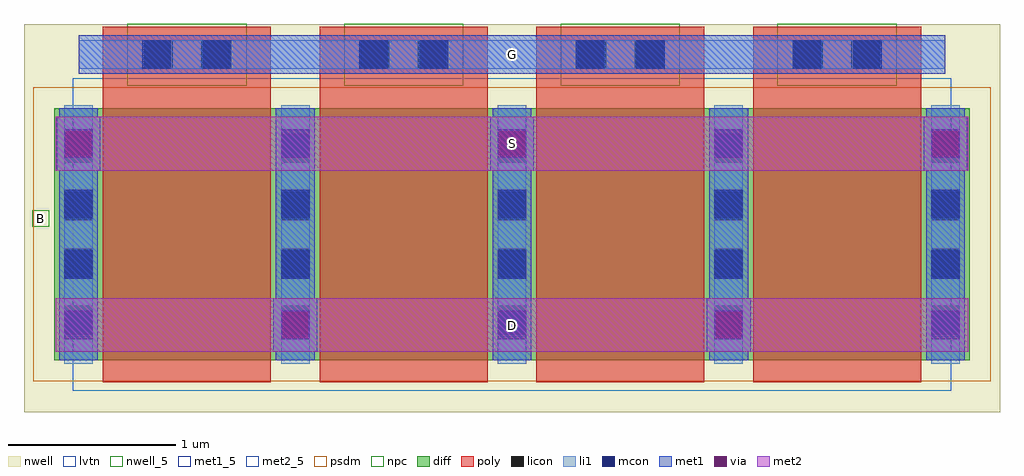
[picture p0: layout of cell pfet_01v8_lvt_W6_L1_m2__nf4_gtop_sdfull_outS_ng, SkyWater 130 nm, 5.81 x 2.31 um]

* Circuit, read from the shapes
.subckt pfet_01v8_lvt_W6_L1_m2__nf4_gtop_sdfull_outS_ng B D G S
XM1 D G S B sky130_fd_pr__pfet_01v8_lvt w=1.5 l=1 m=4
.ends

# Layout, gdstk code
import gdstk
lib = gdstk.Library(unit=1e-6, precision=1e-09)
def R(c, l, rs):  # rectangles x0, y0, x1, y1
    for r in rs: c.add(gdstk.rectangle(r[:2], r[2:], *l))
def A(c, l, x, y, w, h, nx, ny, dx, dy):  # array of equal rectangles
    R(c, l, [(x+i*dx, y+j*dy, x+i*dx+w, y+j*dy+h) for i in range(nx) for j in range(ny)])
nwell_5 = (64, 5)
nwell = (64, 20)
diff = (65, 20)
poly = (66, 20)
licon = (66, 44)
li1 = (67, 20)
mcon = (67, 44)
met1_5 = (68, 5)
met1 = (68, 20)
via = (68, 44)
met2_5 = (69, 5)
met2 = (69, 20)
psdm = (94, 20)
npc = (95, 20)
lvtn = (125, 44)

sky130_fd_pr__pfet_01v8_ = lib.new_cell('sky130_fd_pr__pfet_01v8_lvt_7H678B')
R(sky130_fd_pr__pfet_01v8_, nwell, [(-2.905,-1.24,2.905,1.07)])
R(sky130_fd_pr__pfet_01v8_, diff, [(-2.725,-0.93,2.725,0.57)])
A(sky130_fd_pr__pfet_01v8_, poly, -2.435, -1.06, 1, 2.115, 4, 1, 1.29, 0)
A(sky130_fd_pr__pfet_01v8_, licon, -2.665, -0.775, 0.17, 0.17, 5, 4, 1.29, 0.34)
R(sky130_fd_pr__pfet_01v8_, licon, [(-2.19,0.805,-2.02,0.975), (-1.85,0.805,-1.68,0.975), (-0.9,0.805,-0.73,0.975), (-0.56,0.805,-0.39,0.975), (0.39,0.805,0.56,0.975), (0.73,0.805,0.9,0.975), (1.68,0.805,1.85,0.975), (2.02,0.805,2.19,0.975)])
A(sky130_fd_pr__pfet_01v8_, li1, -2.665, -0.95, 0.17, 1.54, 5, 1, 1.29, 0)
R(sky130_fd_pr__pfet_01v8_, li1, [(-2.58,0.805,2.58,0.975)])
A(sky130_fd_pr__pfet_01v8_, mcon, -2.665, -0.805, 0.17, 0.17, 5, 4, 1.29, 0.36)
R(sky130_fd_pr__pfet_01v8_, mcon, [(-2.2,0.805,-2.03,0.975), (-1.84,0.805,-1.67,0.975), (-0.91,0.805,-0.74,0.975), (-0.55,0.805,-0.38,0.975), (0.38,0.805,0.55,0.975), (0.74,0.805,0.91,0.975), (1.67,0.805,1.84,0.975), (2.03,0.805,2.2,0.975)])
A(sky130_fd_pr__pfet_01v8_, met1, -2.695, -0.93, 0.23, 1.5, 5, 1, 1.29, 0)
A(sky130_fd_pr__pfet_01v8_, met1, -2.415, 0.775, 0.96, 0.03, 4, 2, 1.29, 0.2)
R(sky130_fd_pr__pfet_01v8_, met1, [(-2.58,0.805,2.58,0.975)])
R(sky130_fd_pr__pfet_01v8_, psdm, [(-2.85,-1.055,2.85,0.695)])
A(sky130_fd_pr__pfet_01v8_, npc, -2.29, 0.705, 0.71, 0.37, 4, 1, 1.29, 0)
R(sky130_fd_pr__pfet_01v8_, lvtn, [(-2.615,-1.11,2.615,0.75)])
sky130_fd_pr__pfet_01v8_.add(gdstk.Label('D0', (-2.58,-0.18), layer=67, texttype=5))
sky130_fd_pr__pfet_01v8_.add(gdstk.Label('G', (1.935,0.89), layer=67, texttype=5))
sky130_fd_pr__pfet_01v8_.add(gdstk.Label('G', (0.645,0.89), layer=67, texttype=5))
sky130_fd_pr__pfet_01v8_.add(gdstk.Label('G', (-0.645,0.89), layer=67, texttype=5))
sky130_fd_pr__pfet_01v8_.add(gdstk.Label('G', (-1.935,0.89), layer=67, texttype=5))
sky130_fd_pr__pfet_01v8_.add(gdstk.Label('S1', (-1.29,-0.18), layer=67, texttype=5))
sky130_fd_pr__pfet_01v8_.add(gdstk.Label('D2', (0,-0.18), layer=67, texttype=5))
sky130_fd_pr__pfet_01v8_.add(gdstk.Label('S3', (1.29,-0.18), layer=67, texttype=5))

pfet_01v8_lvt_w6_l1_m2__ = lib.new_cell('pfet_01v8_lvt_W6_L1_m2__nf4_gtop_sdfull_outS_ng')
R(pfet_01v8_lvt_w6_l1_m2__, nwell_5, [(0.05,1.105,0.15,1.205)])
R(pfet_01v8_lvt_w6_l1_m2__, nwell, [(0.05,1.105,0.15,1.205)])
R(pfet_01v8_lvt_w6_l1_m2__, met1_5, [(0.325,2.015,5.485,2.245)])
A(pfet_01v8_lvt_w6_l1_m2__, met1, 0.195, 1.44, 0.26, 0.32, 3, 1, 2.58, 0)
R(pfet_01v8_lvt_w6_l1_m2__, met1, [(1.485,0.36,1.745,0.68), (4.065,0.36,4.325,0.68), (0.325,2.015,5.485,2.245)])
A(pfet_01v8_lvt_w6_l1_m2__, via, 0.25, 1.525, 0.15, 0.15, 3, 1, 2.58, 0)
R(pfet_01v8_lvt_w6_l1_m2__, via, [(1.54,0.445,1.69,0.595), (4.12,0.445,4.27,0.595)])
R(pfet_01v8_lvt_w6_l1_m2__, met2_5, [(0.19,0.36,5.62,0.68), (0.19,1.44,5.62,1.76)])
R(pfet_01v8_lvt_w6_l1_m2__, met2, [(0.19,0.36,5.62,0.68), (0.19,1.44,5.62,1.76)])
pfet_01v8_lvt_w6_l1_m2__.add(gdstk.Reference(sky130_fd_pr__pfet_01v8_, (2.905,1.24)))
pfet_01v8_lvt_w6_l1_m2__.add(gdstk.Label('S', (2.905,1.6), layer=69, texttype=5))
pfet_01v8_lvt_w6_l1_m2__.add(gdstk.Label('D', (2.905,0.52), layer=69, texttype=5))
pfet_01v8_lvt_w6_l1_m2__.add(gdstk.Label('G', (2.905,2.13), layer=68, texttype=5))
pfet_01v8_lvt_w6_l1_m2__.add(gdstk.Label('B', (0.1,1.155), layer=64, texttype=5))

lib.write_gds('pfet_01v8_lvt_W6_L1_m2__nf4_gtop_sdfull_outS_ng.gds')
